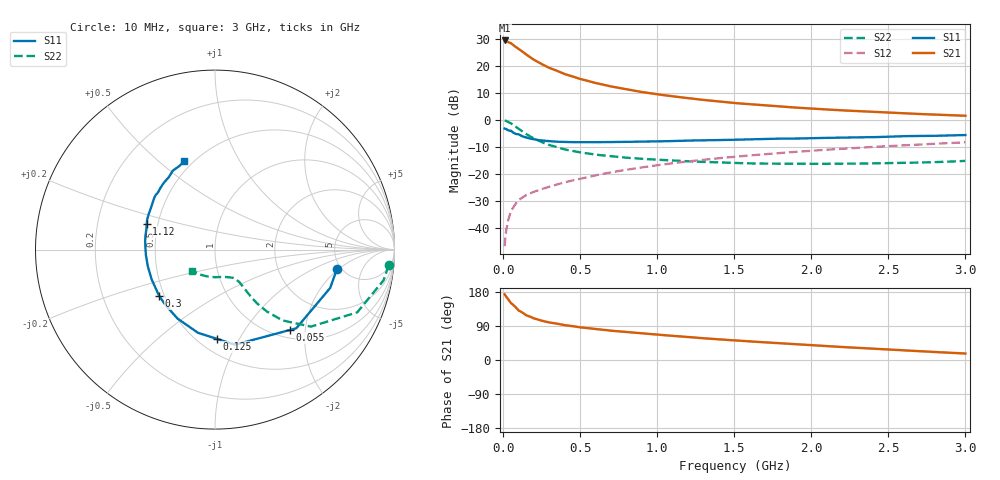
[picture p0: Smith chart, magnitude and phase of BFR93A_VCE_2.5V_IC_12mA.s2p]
! Infineon Technologies  Discrete & RF Semiconductors
! BFR93A
! VCE =  2.5 V,  IC =  12 mA
! Common Emitter S-Parameters:  Nov 2015
# GHz  S  MA  R  50
!  f  S11  S21  S12  S22
! GHz  MAG  ANG  MAG  ANG  MAG  ANG  MAG  ANG
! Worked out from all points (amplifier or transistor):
!   180 points, 10 MHz to 3 GHz, reference 50 ohm
!   highest |S21| = 29.4 dB at 10 MHz (marker M1)
!   |S21| within 3 dB of that: start of sweep to 97.97 MHz
!   unconditionally stable (mu >= 1): 513.2 MHz to 2.954 GHz
!   at 160 MHz: K = 0.56, MSG = 25.7 dB, |S12| = -27.6 dB
!   at 1.22 GHz: K = 1.09, MAG = 9.7 dB, |S12| = -15.3 dB
!   at 3 GHz: K = 1.00, MSG = 4.9 dB, |S12| = -8.3 dB
!   S11 on the Smith chart (normalised r, x): 10 MHz: 4.57, -1.91; 55 MHz: 1.16, -1.66; 125 MHz: 0.61, -0.81; 300 MHz: 0.47, -0.29; 1.12 GHz: 0.43, +0.15; 3 GHz: 0.45, +0.61
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0.01  0.6876 -9.2  29.36 173.5  0.0046 85.5  0.9709 -5.2
0.02  0.6764 -18.4  28.86 167.3  0.0088 80.4  0.9548 -10.3
0.03  0.6467 -26.5  27.72 162.1  0.0125 75.4  0.9197 -14.5
0.05  0.6302 -44.1  26.2 150.7  0.02 71.0  0.8661 -23.8
0.055  0.6128 -46.9  25.53 149.1  0.0212 69.4  0.8458 -25.0
0.1  0.5412 -78.1  20.61 130.9  0.0326 60.8  0.685 -38.8
0.125  0.4966 -89.0  18.22 125.3  0.0365 58.5  0.6134 -42.2
0.15  0.4731 -101.6  16.05 118.1  0.0404 56.7  0.5444 -46.4
0.2  0.4374 -118.4  12.92 109.8  0.0466 56.3  0.4504 -50.0
0.24  0.4181 -128.5  11.15 105.0  0.0512 56.3  0.399 -51.5
0.3  0.404 -140.4  9.138 99.0  0.0579 57.7  0.3414 -52.6
0.4  0.39 -154.9  7.014 91.9  0.0695 59.7  0.283 -53.0
0.52  0.3851 -167.5  5.519 85.4  0.0839 61.4  0.2454 -53.0
0.6  0.3861 -174.1  4.8 81.7  0.0939 62.1  0.2269 -53.2
0.7  0.3879 179.5  4.144 77.4  0.1066 62.5  0.2116 -54.0
0.9  0.3956 168.6  3.267 70.3  0.1318 62.5  0.1898 -56.8
1.02  0.399 163.4  2.914 66.3  0.147 61.9  0.1816 -59.1
1.12  0.4065 159.4  2.679 63.1  0.1598 61.3  0.1756 -61.8
1.52  0.4291 145.4  2.024 51.3  0.2094 58.0  0.1586 -74.4
2.02  0.4588 131.6  1.601 38.6  0.2701 52.9  0.1533 -93.5
2.52  0.4897 120.0  1.35 27.3  0.3289 46.8  0.1583 -114.6
3  0.5225 109.0  1.188 17.1  0.3834 40.5  0.1739 -137.6
